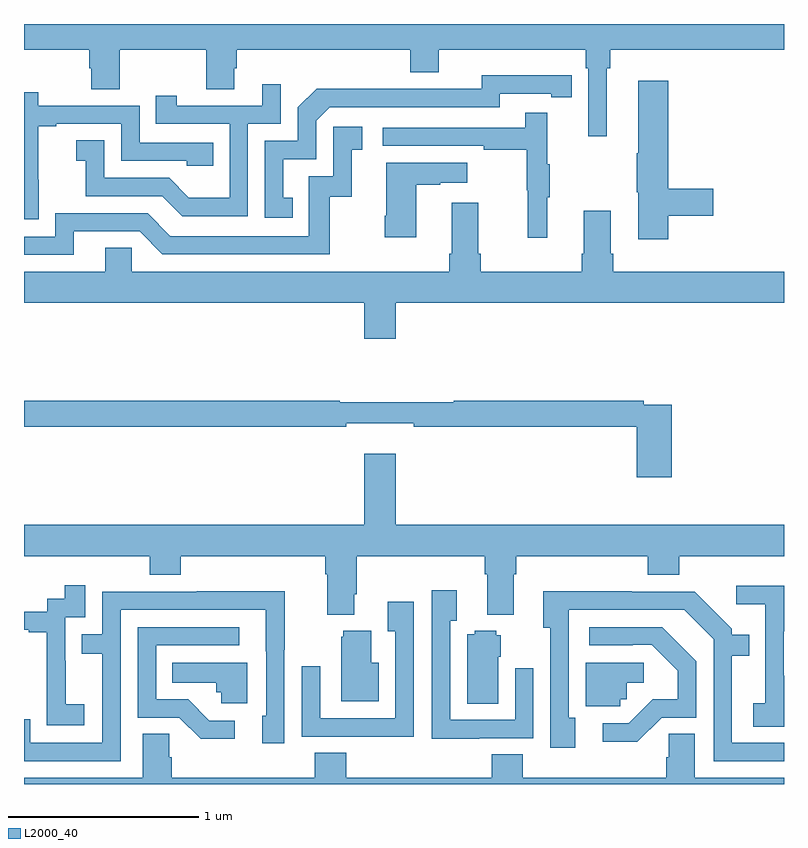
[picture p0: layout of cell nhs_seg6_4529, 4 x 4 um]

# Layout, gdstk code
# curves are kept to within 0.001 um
import gdstk
lib = gdstk.Library(unit=1e-6, precision=1e-09)
def P(c, l, *ps):  # polygons
    for p in ps: c.add(gdstk.Polygon(p, *l))
L2000_40 = (2000, 40)

nhs_seg6_4529 = lib.new_cell('nhs_seg6_4529')
P(nhs_seg6_4529, L2000_40, [(382.066,919.268),(382.085,919.268),(382.085,919.364),(383,919.364),(383,919.5),(379,919.5),(379,919.364),(379.343,919.364),(379.343,919.266),(379.355,919.266),(379.355,919.156),(379.503,919.156),(379.503,919.364),(379.96,919.364),(379.96,919.156),(380.107,919.156),(380.107,919.266),(380.12,919.266),(380.12,919.364),(381.032,919.364),(381.032,919.247),(381.184,919.247),(381.184,919.364),(381.956,919.364),(381.956,919.268),(381.969,919.268),(381.969,918.909),(382.066,918.909)],
  [(380.414,918.585),(380.365,918.585),(380.365,918.789),(380.538,918.789),(380.538,918.99),(380.61,919.062),(381.504,919.062),(381.504,919.134),(381.776,919.134),(381.776,919.114),(381.884,919.114),(381.884,919.23),(381.408,919.231),(381.408,919.158),(380.948,919.158),(380.948,919.16),(380.54,919.16),(380.442,919.062),(380.442,918.885),(380.268,918.885),(380.268,918.48),(380.414,918.48)],
  [(382.391,918.49),(382.627,918.49),(382.627,918.632),(382.391,918.632),(382.391,919.201),(382.232,919.201),(382.232,918.821),(382.225,918.821),(382.225,918.615),(382.232,918.615),(382.232,918.366),(382.391,918.366)],
  [(380.178,918.975),(380.352,918.975),(380.352,919.183),(380.255,919.183),(380.255,919.071),(379.804,919.071),(379.804,919.123),(379.693,919.123),(379.693,918.975),(380.082,918.975),(380.082,918.586),(379.868,918.586),(379.764,918.69),(379.422,918.69),(379.422,918.889),(379.275,918.889),(379.275,918.779),(379.324,918.779),(379.324,918.594),(379.727,918.594),(379.832,918.489),(380.178,918.489)],
  [(379.077,918.679),(379.076,918.679),(379.076,918.963),(379.171,918.963),(379.171,918.975),(379.512,918.975),(379.512,918.78),(379.857,918.78),(379.857,918.753),(379.997,918.753),(379.997,918.876),(379.608,918.876),(379.608,919.071),(379.074,919.071),(379.074,919.14),(379,919.14),(379,918.473),(379.077,918.473)],
  [(381.755,918.587),(381.766,918.587),(381.766,918.761),(381.755,918.761),(381.755,919.033),(381.637,919.033),(381.637,918.954),(380.889,918.954),(380.889,918.858),(381.421,918.858),(381.421,918.838),(381.645,918.838),(381.645,918.624),(381.652,918.624),(381.652,918.375),(381.755,918.375)],
  [(379.261,918.408),(379.608,918.408),(379.728,918.288),(380.608,918.288),(380.608,918.591),(380.726,918.591),(380.726,918.837),(380.779,918.837),(380.779,918.958),(380.628,918.958),(380.628,918.699),(380.499,918.699),(380.499,918.384),(379.77,918.384),(379.65,918.504),(379.164,918.504),(379.164,918.381),(379,918.381),(379,918.285),(379.261,918.285)],
  [(381.064,918.655),(381.191,918.655),(381.191,918.665),(381.334,918.665),(381.334,918.769),(380.906,918.769),(380.906,918.49),(380.899,918.49),(380.899,918.378),(381.064,918.378)],
  [(380.956,918.032),(383,918.032),(383,918.196),(382.1,918.196),(382.1,918.292),(382.087,918.292),(382.087,918.517),(381.947,918.517),(381.947,918.292),(381.935,918.292),(381.935,918.196),(381.404,918.196),(381.404,918.292),(381.391,918.292),(381.391,918.559),(381.251,918.559),(381.251,918.292),(381.239,918.292),(381.239,918.196),(379.566,918.196),(379.566,918.323),(379.427,918.323),(379.427,918.196),(379,918.196),(379,918.032),(380.792,918.032),(380.792,917.844),(380.956,917.844)],
  [(382.409,917.496),(382.262,917.496),(382.262,917.516),(381.262,917.516),(381.262,917.509),(380.662,917.509),(380.662,917.516),(379,917.516),(379,917.38),(380.696,917.38),(380.696,917.399),(381.052,917.399),(381.052,917.38),(382.226,917.38),(382.226,917.115),(382.409,917.115)],
  [(379,916.7),(379.661,916.7),(379.661,916.601),(379.826,916.601),(379.826,916.7),(380.585,916.7),(380.585,916.604),(380.597,916.604),(380.597,916.391),(380.737,916.391),(380.737,916.498),(380.75,916.498),(380.75,916.7),(381.425,916.7),(381.425,916.604),(381.437,916.604),(381.437,916.391),(381.577,916.391),(381.577,916.604),(381.59,916.604),(381.59,916.7),(382.283,916.7),(382.283,916.601),(382.448,916.601),(382.448,916.7),(383,916.7),(383,916.864),(380.956,916.864),(380.956,917.239),(380.792,917.239),(380.792,916.864),(379,916.864)],
  [(379.318,915.919),(379.22,915.919),(379.22,916.148),(379.218,916.148),(379.218,916.377),(379.323,916.377),(379.323,916.546),(379.215,916.546),(379.215,916.476),(379.122,916.476),(379.122,916.407),(379,916.407),(379,916.311),(379.025,916.311),(379.025,916.299),(379.121,916.299),(379.121,916.015),(379.12,916.015),(379.12,915.809),(379.318,915.809)],
  [(383,916.071),(382.998,916.071),(382.998,916.304),(383,916.304),(383,916.543),(382.749,916.543),(382.749,916.445),(382.902,916.445),(382.902,915.924),(382.839,915.924),(382.839,915.802),(383,915.802)],
  [(381.397,915.741),(381.681,915.741),(381.681,916.108),(381.585,916.108),(381.585,915.837),(381.243,915.837),(381.243,916.358),(381.277,916.358),(381.277,916.519),(381.147,916.519),(381.147,915.737),(381.397,915.737)],
  [(383,915.717),(382.726,915.717),(382.726,916.176),(382.817,916.176),(382.817,916.285),(382.725,916.285),(382.725,916.317),(382.53,916.512),(382.199,916.512),(382.199,916.514),(381.734,916.514),(381.734,916.322),(381.771,916.322),(381.771,915.69),(381.901,915.69),(381.901,915.85),(381.867,915.85),(381.867,916.416),(382.476,916.416),(382.629,916.263),(382.629,915.621),(383,915.621)],
  [(379.509,916.416),(380.273,916.416),(380.273,916.198),(380.274,916.198),(380.274,915.858),(380.255,915.858),(380.255,915.714),(380.37,915.714),(380.37,916.207),(380.373,916.207),(380.373,916.514),(379.909,916.514),(379.909,916.512),(379.413,916.512),(379.413,916.287),(379.303,916.287),(379.303,916.186),(379.413,916.186),(379.413,915.717),(379.032,915.717),(379.032,915.84),(379,915.84),(379,915.621),(379.509,915.621)],
  [(381.051,916.459),(380.915,916.459),(380.915,916.303),(380.955,916.303),(380.955,915.846),(380.559,915.846),(380.559,916.12),(380.463,916.12),(380.463,915.75),(380.779,915.75),(380.779,915.749),(381.051,915.749)],
  [(380.11,915.834),(379.975,915.834),(379.864,915.945),(379.695,915.945),(379.695,916.23),(380.134,916.23),(380.134,916.326),(379.599,916.326),(379.599,915.849),(379.818,915.849),(379.931,915.737),(380.11,915.737)],
  [(382.356,915.849),(382.539,915.849),(382.539,916.147),(382.36,916.326),(381.975,916.326),(381.975,916.23),(382.205,916.23),(382.205,916.233),(382.305,916.233),(382.442,916.096),(382.442,915.946),(382.309,915.946),(382.182,915.819),(382.047,915.819),(382.047,915.722),(382.228,915.722)],
  [(381.496,916.17),(381.508,916.17),(381.508,916.284),(381.486,916.284),(381.486,916.306),(381.372,916.306),(381.372,916.288),(381.332,916.288),(381.332,915.922),(381.496,915.922)],
  [(380.866,916.138),(380.827,916.138),(380.827,916.306),(380.681,916.306),(380.681,916.275),(380.669,916.275),(380.669,915.935),(380.866,915.935)],
  [(380.176,916.138),(379.78,916.138),(379.78,916.034),(380.011,916.034),(380.011,915.984),(380.037,915.984),(380.037,915.926),(380.176,915.926)],
  [(382.137,915.945),(382.173,915.945),(382.173,916.034),(382.261,916.034),(382.261,916.137),(381.956,916.137),(381.956,915.909),(382.137,915.909)],
  [(383,915.532),(382.531,915.532),(382.531,915.764),(382.393,915.764),(382.393,915.642),(382.379,915.642),(382.379,915.532),(381.626,915.532),(381.626,915.656),(381.461,915.656),(381.461,915.532),(380.696,915.532),(380.696,915.665),(380.531,915.665),(380.531,915.532),(379.778,915.532),(379.778,915.641),(379.764,915.641),(379.764,915.764),(379.625,915.764),(379.625,915.532),(379,915.532),(379,915.5),(383,915.5)])

lib.write_gds('nhs_seg6_4529.gds')
